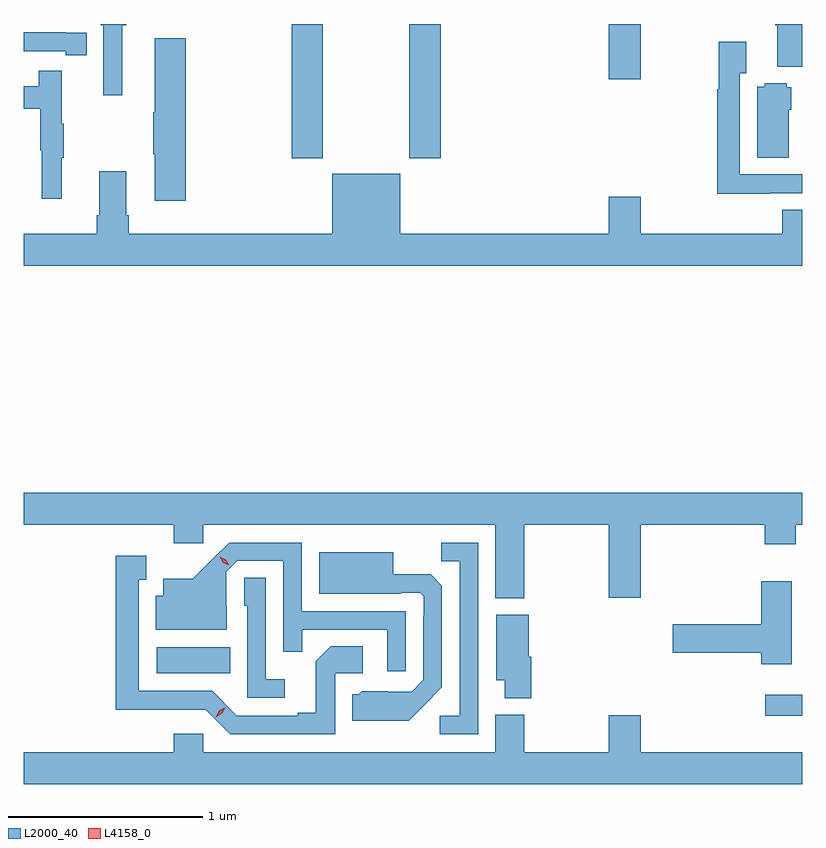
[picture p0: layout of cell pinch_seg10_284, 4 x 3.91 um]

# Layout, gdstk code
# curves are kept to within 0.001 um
import gdstk
lib = gdstk.Library(unit=1e-6, precision=1e-09)
def R(c, l, rs):  # rectangles x0, y0, x1, y1
    for r in rs: c.add(gdstk.rectangle(r[:2], r[2:], *l))
def P(c, l, *ps):  # polygons
    for p in ps: c.add(gdstk.Polygon(p, *l))
L2000_40 = (2000, 40)
L4158_0 = (4158, 0)

pinch_seg10_284 = lib.new_cell('pinch_seg10_284')
R(pinch_seg10_284, L2000_40, [(489.489,1304.663,489.678,1304.77), (486.36,1304.882,486.74,1305.016), (487.055,1307.529,487.215,1308.218), (487.66,1307.529,487.82,1308.218), (488.684,1307.934,488.848,1308.218)])
P(pinch_seg10_284, L2000_40, [(489.678,1308.218),(489.539,1308.218),(489.539,1308.212),(489.551,1308.212),(489.551,1307.999),(489.678,1307.999)],
  [(486.184,1308.212),(486.203,1308.212),(486.203,1308.218),(486.074,1308.218),(486.074,1308.212),(486.087,1308.212),(486.087,1307.853),(486.184,1307.853)],
  [(486.002,1308.174),(485.894,1308.174),(485.894,1308.175),(485.678,1308.175),(485.678,1308.078),(485.894,1308.078),(485.894,1308.058),(486.002,1308.058)],
  [(486.509,1308.145),(486.35,1308.145),(486.35,1307.765),(486.343,1307.765),(486.343,1307.548),(486.35,1307.548),(486.35,1307.31),(486.509,1307.31)],
  [(489.511,1307.349),(489.678,1307.349),(489.678,1307.445),(489.357,1307.445),(489.357,1307.966),(489.391,1307.966),(489.391,1308.127),(489.249,1308.127),(489.249,1307.882),(489.241,1307.882),(489.241,1307.345),(489.511,1307.345)],
  [(485.873,1307.531),(485.884,1307.531),(485.884,1307.705),(485.873,1307.705),(485.873,1307.977),(485.755,1307.977),(485.755,1307.898),(485.678,1307.898),(485.678,1307.782),(485.763,1307.782),(485.763,1307.568),(485.77,1307.568),(485.77,1307.319),(485.873,1307.319)],
  [(489.61,1307.778),(489.622,1307.778),(489.622,1307.892),(489.6,1307.892),(489.6,1307.914),(489.486,1307.914),(489.486,1307.896),(489.446,1307.896),(489.446,1307.53),(489.61,1307.53)],
  [(489.678,1307.264),(489.575,1307.264),(489.575,1307.14),(488.848,1307.14),(488.848,1307.329),(488.684,1307.329),(488.684,1307.14),(487.612,1307.14),(487.612,1307.449),(487.262,1307.449),(487.262,1307.14),(486.218,1307.14),(486.218,1307.236),(486.205,1307.236),(486.205,1307.461),(486.065,1307.461),(486.065,1307.236),(486.053,1307.236),(486.053,1307.14),(485.678,1307.14),(485.678,1306.976),(489.678,1306.976)],
  [(488.25,1305.644),(488.684,1305.644),(488.684,1305.27),(488.848,1305.27),(488.848,1305.644),(489.485,1305.644),(489.485,1305.545),(489.645,1305.545),(489.645,1305.644),(489.678,1305.644),(489.678,1305.808),(485.678,1305.808),(485.678,1305.644),(486.449,1305.644),(486.449,1305.549),(486.6,1305.549),(486.6,1305.644),(488.102,1305.644),(488.102,1305.266),(488.25,1305.266)],
  [(487.641,1305.201),(487.107,1305.201),(487.107,1305.552),(486.734,1305.552),(486.547,1305.367),(486.395,1305.367),(486.395,1305.28),(486.356,1305.28),(486.356,1305.104),(486.721,1305.104),(486.721,1305.228),(486.717,1305.228),(486.717,1305.402),(486.774,1305.459),(487.011,1305.459),(487.011,1304.992),(487.109,1304.992),(487.109,1305.105),(487.545,1305.105),(487.545,1304.892),(487.641,1304.892)],
  [(488.013,1305.552),(487.822,1305.552),(487.822,1305.457),(487.917,1305.457),(487.917,1304.664),(487.815,1304.664),(487.815,1304.568),(488.013,1304.568)],
  [(487.735,1304.717),(487.827,1304.81),(487.827,1305.332),(487.768,1305.391),(487.576,1305.391),(487.576,1305.502),(487.196,1305.502),(487.196,1305.29),(487.616,1305.29),(487.616,1305.294),(487.716,1305.294),(487.734,1305.276),(487.734,1305.176),(487.731,1305.176),(487.731,1304.847),(487.671,1304.787),(487.414,1304.788),(487.398,1304.772),(487.367,1304.772),(487.367,1304.636),(487.655,1304.636)],
  [(487.278,1304.88),(487.42,1304.88),(487.42,1305.02),(487.255,1305.02),(487.179,1304.944),(487.179,1304.677),(487.085,1304.677),(487.085,1304.664),(486.771,1304.664),(486.645,1304.79),(486.268,1304.79),(486.268,1305.363),(486.307,1305.363),(486.307,1305.484),(486.15,1305.484),(486.15,1304.693),(486.612,1304.694),(486.738,1304.568),(487.278,1304.568)],
  [(487.018,1304.851),(486.921,1304.851),(486.921,1305.371),(486.81,1305.371),(486.81,1305.228),(486.825,1305.228),(486.825,1304.754),(487.018,1304.754)],
  [(489.625,1305.355),(489.467,1305.355),(489.467,1305.134),(489.012,1305.134),(489.012,1304.987),(489.467,1304.987),(489.467,1304.928),(489.625,1304.928)],
  [(488.285,1304.967),(488.272,1304.967),(488.272,1305.181),(488.105,1305.181),(488.105,1304.846),(488.15,1304.846),(488.15,1304.753),(488.285,1304.753)],
  [(489.678,1304.476),(488.848,1304.476),(488.848,1304.665),(488.684,1304.665),(488.684,1304.476),(488.25,1304.476),(488.25,1304.668),(488.102,1304.668),(488.102,1304.476),(486.6,1304.476),(486.6,1304.569),(486.449,1304.569),(486.449,1304.476),(485.678,1304.476),(485.678,1304.312),(489.678,1304.312)])
P(pinch_seg10_284, L4158_0, [(486.733,1305.435),(486.703,1305.45),(486.685,1305.48),(486.685,1305.48),(486.686,1305.48),(486.716,1305.465),(486.734,1305.435),(486.734,1305.435)],
  [(486.664,1304.656),(486.664,1304.656),(486.682,1304.688),(486.714,1304.707),(486.714,1304.707),(486.714,1304.707),(486.697,1304.675),(486.665,1304.656)])

lib.write_gds('pinch_seg10_284.gds')
